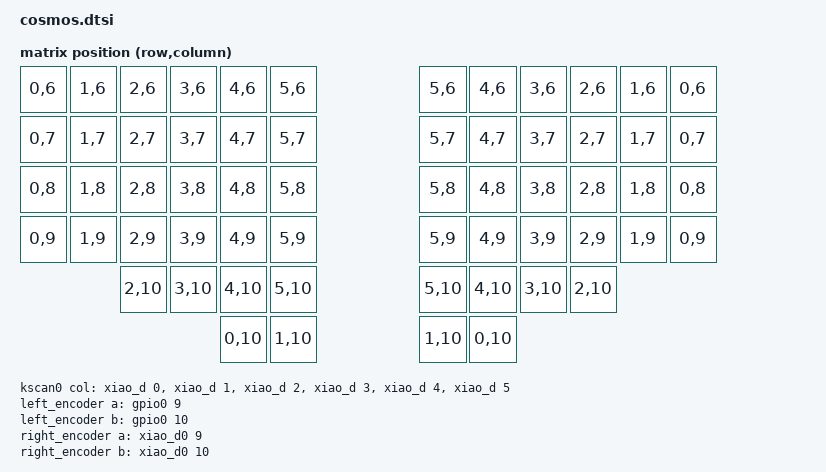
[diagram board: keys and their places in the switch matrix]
/*
 * Copyright (c) 2020 Derek Schmell
 *
 * SPDX-License-Identifier: MIT
 */

#include <dt-bindings/zmk/matrix_transform.h>

/ {
	chosen {
                zmk,kscan = &kscan0;
		zmk,matrix_transform = &default_transform;
	};

	default_transform: keymap_transform_0 {
		compatible = "zmk,matrix-transform";
		columns = <12>;
		rows = <5>;
// | SW0 | SW6  | SW12 | SW17 | SW22 | SW27		                      | SW27 | SW22 | SW17 | SW12 | SW6  | SW0 |
// | SW1 | SW7  | SW13 | SW18 | SW23 | SW28		                      | SW28 | SW23 | SW18 | SW13 | SW7  | SW1 |
// | SW2 | SW8  | SW14 | SW19 | SW24 | SW29		                      | SW29 | SW24 | SW19 | SW14 | SW8  | SW2 |
// | SW3 | SW9  | SW15 | SW20 | SW25 | SW30		                      | SW30 | SW25 | SW20 | SW15 | SW9  | SW3 |
// | SW4 | SW10 | SW16 | SW21 | SW26 | SW31                           | SW31 | SW26 | SW21 | SW16 | SW10 | SW4 |
//                            | SW5  | SW11                           | SW11 | SW5
		map = <
RC(0,6) RC(1,6) RC(2,6)  RC(3,6)  RC(4,6)  RC(5,6)               	     		    			  RC(5,6)  RC(4,6)  RC(3,6)  RC(2,6)  RC(1,6) RC(0,6)
RC(0,7) RC(1,7) RC(2,7)  RC(3,7)  RC(4,7)  RC(5,7)               	    		    	  		  RC(5,7)  RC(4,7)  RC(3,7)  RC(2,7)  RC(1,7) RC(0,7)
RC(0,8) RC(1,8) RC(2,8)  RC(3,8)  RC(4,8)  RC(5,8)                 		    		  			  RC(5,8)  RC(4,8)  RC(3,8)  RC(2,8)  RC(1,8) RC(0,8)
RC(0,9) RC(1,9) RC(2,9)  RC(3,9)  RC(4,9)  RC(5,9)             		     	    	  			  RC(5,9)  RC(4,9)  RC(3,9)  RC(2,9)  RC(1,9) RC(0,9)
				RC(2,10) RC(3,10) RC(4,10) RC(5,10)                                               RC(5,10) RC(4,10) RC(3,10) RC(2,10)
				                  RC(0,10) RC(1,10)   		                                      RC(1,10) RC(0,10)
		>;
	};

	kscan0: kscan {
		compatible = "zmk,kscan-gpio-matrix";
		label = "KSCAN";

		diode-direction = "col2row";
        col-gpios
            = <&xiao_d 0 GPIO_ACTIVE_HIGH>
            , <&xiao_d 1 GPIO_ACTIVE_HIGH>
            , <&xiao_d 2 GPIO_ACTIVE_HIGH>
            , <&xiao_d 3 GPIO_ACTIVE_HIGH>
			, <&xiao_d 4 GPIO_ACTIVE_HIGH>
			, <&xiao_d 5 GPIO_ACTIVE_HIGH>
            ;
	};

	left_encoder: encoder_left {
        compatible = "alps,ec11";
        label = "LEFT_ENCODER";
        a-gpios = <&gpio0 9 (GPIO_ACTIVE_HIGH | GPIO_PULL_UP)>;
        b-gpios = <&gpio0 10 (GPIO_ACTIVE_HIGH | GPIO_PULL_UP)>;
        steps = <80>;
		status = "disabled";
	};
	
	right_encoder: encoder_right {
        compatible = "alps,ec11";
        label = "RIGHT_ENCODER";
        a-gpios = <&xiao_d0 9 (GPIO_ACTIVE_HIGH | GPIO_PULL_UP)>;
        b-gpios = <&xiao_d0 10 (GPIO_ACTIVE_HIGH | GPIO_PULL_UP)>;
        steps = <80>;
	status = "disabled";
	};
	
	sensors {
		compatible = "zmk,keymap-sensors";
		sensors = <&left_encoder &right_encoder>;
	};
};

